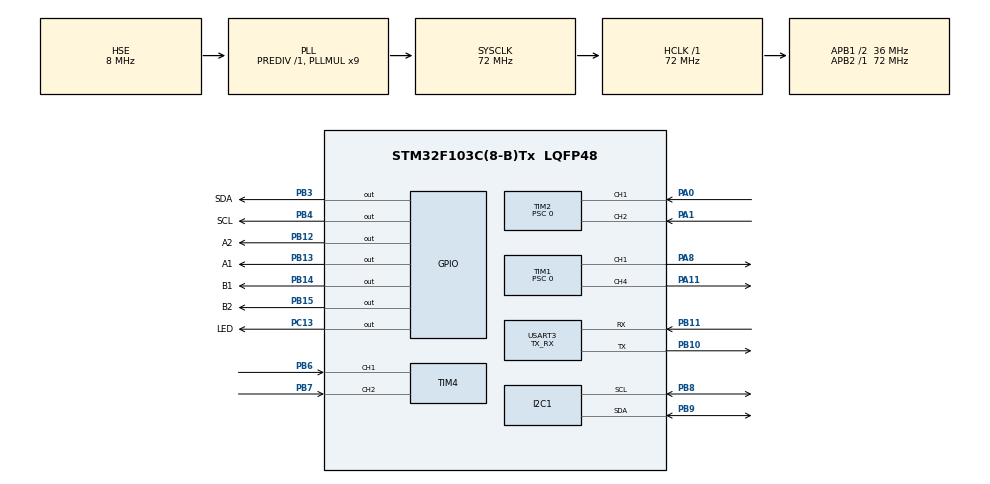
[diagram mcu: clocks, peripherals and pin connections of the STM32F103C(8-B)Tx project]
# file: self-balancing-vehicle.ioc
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Dma.Request0=USART3_RX
Dma.USART3_RX.0.Direction=DMA_PERIPH_TO_MEMORY
Dma.USART3_RX.0.Instance=DMA1_Channel3
Dma.USART3_RX.0.MemDataAlignment=DMA_MDATAALIGN_BYTE
Dma.USART3_RX.0.MemInc=DMA_MINC_ENABLE
Dma.USART3_RX.0.Mode=DMA_CIRCULAR
Dma.USART3_RX.0.PeriphDataAlignment=DMA_PDATAALIGN_BYTE
Dma.USART3_RX.0.PeriphInc=DMA_PINC_DISABLE
Dma.USART3_RX.0.Priority=DMA_PRIORITY_VERY_HIGH
I2C1.I2C_Mode=I2C_Fast
Mcu.Family=STM32F1
Mcu.Name=STM32F103C(8-B)Tx
Mcu.Package=LQFP48
NVIC.PriorityGroup=NVIC_PRIORITYGROUP_4
NVIC.TIM3_IRQn=true\:0\:0\:false\:false\:true\:true\:true\:true
PA0-WKUP.Signal=S_TIM2_CH1_ETR
PA1.Signal=S_TIM2_CH2
PA11.Signal=S_TIM1_CH4
PA13.Mode=Serial_Wire
PA13.Signal=SYS_JTMS-SWDIO
PA14.Mode=Serial_Wire
PA14.Signal=SYS_JTCK-SWCLK
PA8.Signal=S_TIM1_CH1
PB10.Mode=Asynchronous
PB10.Signal=USART3_TX
PB11.Mode=Asynchronous
PB11.Signal=USART3_RX
PB12.GPIO_Label=A2
PB12.Signal=GPIO_Output
PB13.GPIO_Label=A1
PB13.Signal=GPIO_Output
PB14.GPIO_Label=B1
PB14.Signal=GPIO_Output
PB15.GPIO_Label=B2
PB15.Signal=GPIO_Output
PB3.GPIO_Label=SDA
PB3.GPIO_ModeDefaultOutputPP=GPIO_MODE_OUTPUT_OD
PB3.GPIO_PuPd=GPIO_PULLUP
PB3.GPIO_Speed=GPIO_SPEED_FREQ_HIGH
PB3.Signal=GPIO_Output
PB4.GPIO_Label=SCL
PB4.GPIO_ModeDefaultOutputPP=GPIO_MODE_OUTPUT_OD
PB4.GPIO_PuPd=GPIO_PULLUP
PB4.GPIO_Speed=GPIO_SPEED_FREQ_HIGH
PB4.Signal=GPIO_Output
PB6.Signal=S_TIM4_CH1
PB7.Signal=S_TIM4_CH2
PB8.Mode=I2C
PB8.Signal=I2C1_SCL
PB9.Mode=I2C
PB9.Signal=I2C1_SDA
PC13-TAMPER-RTC.GPIO_Label=LED
PC13-TAMPER-RTC.GPIO_Speed=GPIO_SPEED_FREQ_HIGH
PC13-TAMPER-RTC.Signal=GPIO_Output
PD0-OSC_IN.Mode=HSE-External-Oscillator
PD0-OSC_IN.Signal=RCC_OSC_IN
PD1-OSC_OUT.Mode=HSE-External-Oscillator
PD1-OSC_OUT.Signal=RCC_OSC_OUT
ProjectManager.HeapSize=0x200
ProjectManager.StackSize=0x400
ProjectManager.TargetToolchain=CMake
RCC.AHBFreq_Value=72000000
RCC.APB1CLKDivider=RCC_HCLK_DIV2
RCC.APB1Freq_Value=36000000
RCC.APB1TimFreq_Value=72000000
RCC.APB2Freq_Value=72000000
RCC.APB2TimFreq_Value=72000000
RCC.HCLKFreq_Value=72000000
RCC.PLLMUL=RCC_PLL_MUL9
RCC.PLLSourceVirtual=RCC_PLLSOURCE_HSE
RCC.SYSCLKFreq_VALUE=72000000
RCC.SYSCLKSource=RCC_SYSCLKSOURCE_PLLCLK
RCC.USBFreq_Value=72000000
SH.S_TIM1_CH1.0=TIM1_CH1,PWM Generation1 CH1
SH.S_TIM1_CH4.0=TIM1_CH4,PWM Generation4 CH4
SH.S_TIM2_CH1_ETR.0=TIM2_CH1,Encoder_Interface
SH.S_TIM2_CH2.0=TIM2_CH2,Encoder_Interface
SH.S_TIM4_CH1.0=TIM4_CH1,Encoder_Interface
SH.S_TIM4_CH2.0=TIM4_CH2,Encoder_Interface
TIM1.Channel-PWM\ Generation1\ CH1=TIM_CHANNEL_1
TIM1.Channel-PWM\ Generation4\ CH4=TIM_CHANNEL_4
TIM1.Period=7199
TIM1.Prescaler=0
TIM2.EncoderMode=TIM_ENCODERMODE_TI12
TIM2.Period=65535
TIM2.Prescaler=0
TIM3.AutoReloadPreload=TIM_AUTORELOAD_PRELOAD_ENABLE
TIM3.Period=9999
TIM3.Prescaler=71
TIM4.EncoderMode=TIM_ENCODERMODE_TI12
USART3.Mode=MODE_TX_RX
USART3.VirtualMode=VM_ASYNC
VP_TIM3_VS_ClockSourceINT.Mode=Internal
board=custom

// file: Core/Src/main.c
/* USER CODE BEGIN Header */
/**
  ******************************************************************************
  * @file           : main.c
  * @brief          : Main program body
  ******************************************************************************
  * @attention
  *
  * Copyright (c) 2025 STMicroelectronics.
  * All rights reserved.
  *
  * This software is licensed under terms that can be found in the LICENSE file
  * in the root directory of this software component.
  * If no LICENSE file comes with this software, it is provided AS-IS.
  *
  ******************************************************************************
  */
/* USER CODE END Header */
#include "main.h"
#include "dma.h"
#include "i2c.h"
#include "tim.h"
#include "usart.h"
#include "gpio.h"

/* USER CODE BEGIN Includes */
#include "inv_mpu.h"
#include "oled.h"
#include "mpu6050.h"
#include "moto.h"
#include "pid.h"
#include <stdint.h>
#include <stdio.h>
#include <sys/_intsup.h>
/* USER CODE END Includes */

/* USER CODE BEGIN PV */

enum my_state vehicle_state = unintialized;

int flag = 0;

float pitch, roll, yaw;

float roll_0 = -3.5; //初始角度

short gx, gy, gz; //陀螺仪原始数据
short ax, ay, az; //加速度原始数据

float turn_angle = 0;

int pre_vel = 0;
int vel_value = 0;
float filtered_Vel = 0.9f;

int pre_vel_2 = 0;
int vel_value_2 = 0;
float filtered_Vel_2 = 0.7f;

uint16_t uart_rx_buffer[9]={512, 512, 512, 512, 512, 512, 512, 512, 512};
/* USER CODE END PV */

void SystemClock_Config(void);

int main(void)
{

  /* MCU Configuration--------------------------------------------------------*/

  /* Reset of all peripherals, Initializes the Flash interface and the Systick. */
  HAL_Init();

  /* Configure the system clock */
  SystemClock_Config();

  /* Initialize all configured peripherals */
  MX_GPIO_Init();
  MX_DMA_Init();
  MX_I2C1_Init();
  MX_TIM1_Init();
  MX_TIM2_Init();
  MX_TIM3_Init();
  MX_TIM4_Init();
  MX_USART3_UART_Init();
  /* USER CODE BEGIN 2 */
  OLED_Init();

  HAL_TIM_Encoder_Start(&htim2, TIM_CHANNEL_ALL); //启动编码器接口
  HAL_TIM_Encoder_Start(&htim4, TIM_CHANNEL_ALL); //启动编码器接口

  //初始化MPU6050
  if(MPU_Init())
  {
    OLED_NewFrame();
    OLED_PrintString(0, 0, "MPU6050 Error!", &font16x16, OLED_COLOR_NORMAL);
    OLED_ShowFrame();
    while (1)
      ;
  }
  else
  {
    OLED_NewFrame();
    OLED_PrintString(0, 0, "MPU6050 OK!", &font16x16, OLED_COLOR_NORMAL);
    OLED_ShowFrame();
  }

  //初始化DMP
  if (mpu_dmp_init())
  {
    OLED_NewFrame();
    OLED_PrintString(0, 0, "DMP Error!", &font16x16, OLED_COLOR_NORMAL);
    OLED_ShowFrame();
    while (1)
      ;
  }
  else
  {
    OLED_NewFrame();
    OLED_PrintString(0, 0, "DMP OK!", &font16x16, OLED_COLOR_NORMAL);
    OLED_ShowFrame();
  }

  HAL_TIM_PWM_Start(&htim1, TIM_CHANNEL_1);
  HAL_TIM_PWM_Start(&htim1, TIM_CHANNEL_4);

  vehicle_state = running;

  HAL_UART_Receive_DMA(&huart3, (uint8_t*)uart_rx_buffer, 18); //开启DMA接收

  HAL_TIM_Base_Start_IT(&htim3); //启动定时器3中断

  /* USER CODE END 2 */

  /* Infinite loop */
  /* USER CODE BEGIN WHILE */
  while (1)
  {
    HAL_GPIO_TogglePin(GPIOC, GPIO_PIN_13); // Toggle the LED on PC13
    /* USER CODE END WHILE */

    /* USER CODE BEGIN 3 */
    MPU_Get_Gyroscope(&gx,  &gy, &gz);
    MPU_Get_Accelerometer(&ax, &ay, &az);
    mpu_dmp_get_data(&pitch, &roll, &yaw);
    // OLED_NewFrame();
    // char buf[20];
    // snprintf(buf, sizeof(buf), "P:%.2f", pitch);
    // OLED_PrintString(0, 0, buf, &font16x16, OLED_COLOR_NORMAL);
    // snprintf(buf, sizeof(buf), "R:%.2f", roll);
    // OLED_PrintString(0, 16, buf, &font16x16, OLED_COLOR_NORMAL);
    // snprintf(buf, sizeof(buf), "Y:%.2f", yaw);
    // OLED_PrintString(0, 32, buf, &font16x16, OLED_COLOR_NORMAL);
    // OLED_ShowFrame();

    // OLED_NewFrame();
    // char buf[20];
    // sprintf(buf, "tim2:%d", ReadVel(&htim2));
    // OLED_PrintString(0, 0, buf, &font16x16, OLED_COLOR_NORMAL);
    // sprintf(buf, "tim4:%d", ReadVel(&htim4));
    // OLED_PrintString(0, 16, buf, &font16x16, OLED_COLOR_NORMAL);
    // OLED_ShowFrame();
    // HAL_Delay(1000);

    // OLED_NewFrame();
    // char buf[20];
    // sprintf(buf, "ax:%d", ax);
    // OLED_PrintString(0, 0, buf, &font16x16, OLED_COLOR_NORMAL);
    // sprintf(buf, "ay:%d", ay);
    // OLED_PrintString(0, 16, buf, &font16x16, OLED_COLOR_NORMAL);
    // sprintf(buf, "az:%d", az);
    // OLED_PrintString(0, 32, buf, &font16x16, OLED_COLOR_NORMAL);
    // OLED_ShowFrame();

    // OLED_NewFrame();
    // char buf[20];
    // sprintf(buf, "gx:%d", gx);
    // OLED_PrintString(0, 0, buf, &font16x16, OLED_COLOR_NORMAL);
    // sprintf(buf, "gy:%d", gy);
    // OLED_PrintString(0, 16, buf, &font16x16, OLED_COLOR_NORMAL);
    // sprintf(buf, "gz:%d", gz);
    // OLED_PrintString(0, 32, buf, &font16x16, OLED_COLOR_NORMAL);
    // OLED_ShowFrame();

    // OLED_NewFrame();
    // char buf[20];

    // sprintf(buf, "uart:%d", uart_rx_buffer[0]);
    // OLED_PrintString(0, 0, buf, &font16x16, OLED_COLOR_NORMAL);
    // sprintf(buf, "uart:%d", uart_rx_buffer[1]);
    // OLED_PrintString(0, 16, buf, &font16x16, OLED_COLOR_NORMAL);
    // sprintf(buf, "uart:%d", uart_rx_buffer[2]);
    // OLED_PrintString(0, 32, buf, &font16x16, OLED_COLOR_NORMAL);
    // sprintf(buf, "uart:%d", uart_rx_buffer[3]);
    // OLED_PrintString(0, 48, buf, &font16x16, OLED_COLOR_NORMAL);
    // OLED_ShowFrame();

  }
  /* USER CODE END 3 */
}

void SystemClock_Config(void)
{
  RCC_OscInitTypeDef RCC_OscInitStruct = {0};
  RCC_ClkInitTypeDef RCC_ClkInitStruct = {0};

  /** Initializes the RCC Oscillators according to the specified parameters
  * in the RCC_OscInitTypeDef structure.
  */
  RCC_OscInitStruct.OscillatorType = RCC_OSCILLATORTYPE_HSE;
  RCC_OscInitStruct.HSEState = RCC_HSE_ON;
  RCC_OscInitStruct.HSEPredivValue = RCC_HSE_PREDIV_DIV1;
  RCC_OscInitStruct.HSIState = RCC_HSI_ON;
  RCC_OscInitStruct.PLL.PLLState = RCC_PLL_ON;
  RCC_OscInitStruct.PLL.PLLSource = RCC_PLLSOURCE_HSE;
  RCC_OscInitStruct.PLL.PLLMUL = RCC_PLL_MUL9;
  if (HAL_RCC_OscConfig(&RCC_OscInitStruct) != HAL_OK)
  {
    Error_Handler();
  }

  /** Initializes the CPU, AHB and APB buses clocks
  */
  RCC_ClkInitStruct.ClockType = RCC_CLOCKTYPE_HCLK|RCC_CLOCKTYPE_SYSCLK
                              |RCC_CLOCKTYPE_PCLK1|RCC_CLOCKTYPE_PCLK2;
  RCC_ClkInitStruct.SYSCLKSource = RCC_SYSCLKSOURCE_PLLCLK;
  RCC_ClkInitStruct.AHBCLKDivider = RCC_SYSCLK_DIV1;
  RCC_ClkInitStruct.APB1CLKDivider = RCC_HCLK_DIV2;
  RCC_ClkInitStruct.APB2CLKDivider = RCC_HCLK_DIV1;

  if (HAL_RCC_ClockConfig(&RCC_ClkInitStruct, FLASH_LATENCY_2) != HAL_OK)
  {
    Error_Handler();
  }
}

/* USER CODE BEGIN 4 */
__used void HAL_TIM_PeriodElapsedCallback(TIM_HandleTypeDef *htim)
{
    if (htim->Instance == TIM3 && vehicle_state == running) // Check if the interrupt is from TIM2
    {
        // Call your PID control function here
        //PID_StandUpControl(0);

        vel_value = (512-uart_rx_buffer[3])/5;
        vel_value = vel_value*(1-filtered_Vel) + filtered_Vel*pre_vel;
        pre_vel = vel_value;

        vel_value_2 = vel_value;
        vel_value_2 = vel_value_2*(1-filtered_Vel_2) + filtered_Vel_2*pre_vel_2;
        pre_vel_2 = vel_value_2;

        PID_VelControl(vel_value_2);
        turn_angle += ((512.0-uart_rx_buffer[0])/512*3.6);
        if(turn_angle > 180)
          turn_angle -= 360;
        else if(turn_angle < -180)
          turn_angle += 360;
        PID_TurnControl(turn_angle+(uart_rx_buffer[2]-512.0)/1024*180);
        MotoRun();
    }
    if (htim->Instance == TIM3 && vehicle_state == stop) // Check if the interrupt is from TIM2
    {
      MotoStop();
      if((roll - roll_0) > -5 && (roll - roll_0) < 5)
        flag++;
      if (flag > 200) {
        vehicle_state = running;
        flag = 0;

      }
    }
}
/* USER CODE END 4 */

void Error_Handler(void)
{
  __disable_irq();
  while (1)
  {
  }
}
